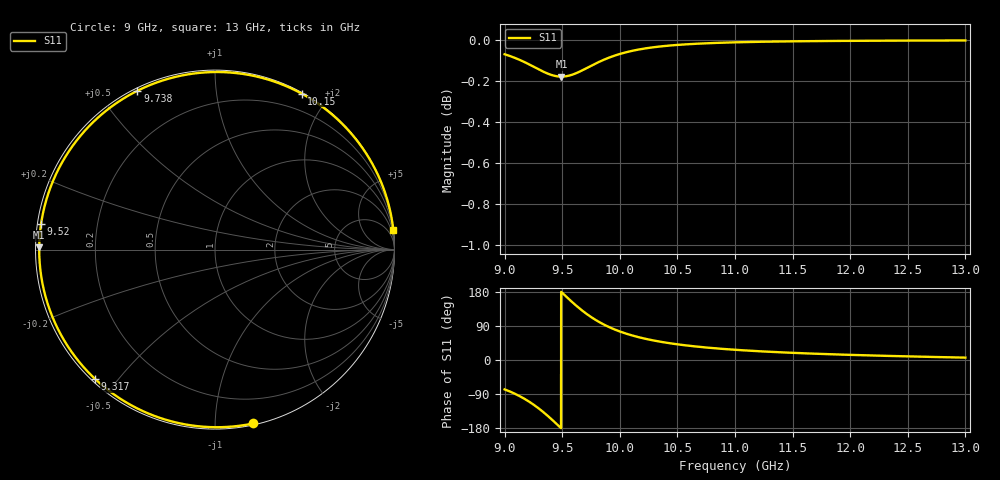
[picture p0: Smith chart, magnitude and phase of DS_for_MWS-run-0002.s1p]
! TOUCHSTONE file generated by CST DESIGN STUDIO
! Date and time: Tue Feb  4 17:28:39 2025
! Project name: C:\Work\MatlabApps\UnitCellOptimizationMatlab\CST\unitcell.cst
! Tree item: Tasks\Sweep1\SPara1\S-Parameters
! Header version: 2024
! Port assignment regex: !\s*Touchstone port\s*([0-9]+)\s*=\s*(CST MWS port|CST DES external port|CST DES block port)\s*(.+)\s* \(\"(.*)\"\)(\s*mode\s*([0-9]+))?.*
! Touchstone port assignment:
! Touchstone port 1 = CST DES external port 1 ("")
# GHz S MA R 50
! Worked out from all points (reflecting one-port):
!   4001 points, 9 GHz to 13 GHz, reference 50 ohm
!   lowest |S11| = -0.2 dB at 9.493 GHz (marker M1), VSWR 96.40, Z = 0.519 + j0.317 ohm
!   phase of S11 starts at -78 deg and turns -276 deg over the sweep
!   S11 on the Smith chart (normalised r, x): 9 GHz: 0.01, -1.25; 9.317 GHz: 0.01, -0.44; 9.52 GHz: 0.01, +0.07; 9.738 GHz: 0.01, +0.62; 10.15 GHz: 0.01, +1.70; 13 GHz: 0, +18
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9  0.9918 -77.5
9.081  0.99 -87.9
9.181  0.9872 -104.0
9.252  0.9849 -117.9
9.317  0.9828 -132.8
9.364  0.9814 -144.7
9.413  0.9803 -157.9
9.454  0.9797 -169.5
9.493  0.9795 179.3
9.5  0.9795 177.3
9.52  0.9796 171.5
9.574  0.9803 156.2
9.634  0.9817 140.2
9.685  0.9833 127.7
9.738  0.985 116.0
9.792  0.9867 105.4
9.851  0.9885 95.2
9.925  0.9904 84.4
10  0.992 75.3
10.154  0.9943 60.9
10.311  0.9958 50.5
10.5  0.997 41.4
10.722  0.9978 33.8
11  0.9984 27.0
11.5  0.999 18.9
12  0.9993 13.5
12.5  0.9994 9.5
13  0.9995 6.3
